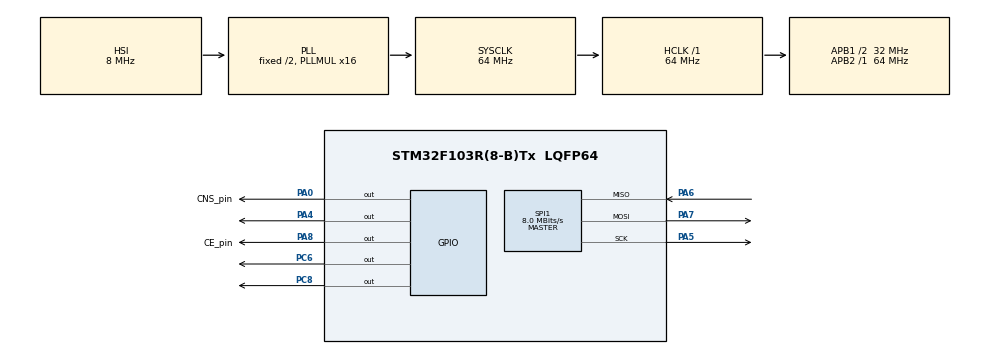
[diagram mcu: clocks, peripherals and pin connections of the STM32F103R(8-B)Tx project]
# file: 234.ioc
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Mcu.Family=STM32F1
Mcu.Name=STM32F103R(8-B)Tx
Mcu.Package=LQFP64
NVIC.PriorityGroup=NVIC_PRIORITYGROUP_4
PA0-WKUP.GPIO_Label=CNS_pin
PA0-WKUP.Signal=GPIO_Output
PA4.Signal=GPIO_Output
PA5.Mode=Full_Duplex_Master
PA5.Signal=SPI1_SCK
PA6.Mode=Full_Duplex_Master
PA6.Signal=SPI1_MISO
PA7.Mode=Full_Duplex_Master
PA7.Signal=SPI1_MOSI
PA8.GPIO_Label=CE_pin
PA8.Signal=GPIO_Output
PC6.Signal=GPIO_Output
PC8.Signal=GPIO_Output
PD0-OSC_IN.Mode=HSE-External-Oscillator
PD0-OSC_IN.Signal=RCC_OSC_IN
PD1-OSC_OUT.Mode=HSE-External-Oscillator
PD1-OSC_OUT.Signal=RCC_OSC_OUT
ProjectManager.HeapSize=0x200
ProjectManager.StackSize=0x400
ProjectManager.TargetToolchain=STM32CubeIDE
RCC.AHBFreq_Value=64000000
RCC.APB1CLKDivider=RCC_HCLK_DIV2
RCC.APB1Freq_Value=32000000
RCC.APB1TimFreq_Value=64000000
RCC.APB2Freq_Value=64000000
RCC.APB2TimFreq_Value=64000000
RCC.HCLKFreq_Value=64000000
RCC.PLLMUL=RCC_PLL_MUL16
RCC.RTCClockSelection=RCC_RTCCLKSOURCE_LSE
RCC.SYSCLKFreq_VALUE=64000000
RCC.SYSCLKSource=RCC_SYSCLKSOURCE_PLLCLK
RCC.USBFreq_Value=64000000
SPI1.BaudRatePrescaler=SPI_BAUDRATEPRESCALER_8
SPI1.CalculateBaudRate=8.0 MBits/s
SPI1.Direction=SPI_DIRECTION_2LINES
SPI1.Mode=SPI_MODE_MASTER
SPI1.VirtualType=VM_MASTER
VP_SYS_VS_ND.Mode=No_Debug
board=NUCLEO-F103RB

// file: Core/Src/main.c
/* USER CODE BEGIN Header */
/**
  ******************************************************************************
  * @file           : main.c
  * @brief          : Main program body
  ******************************************************************************
  * @attention
  *
  * Copyright (c) 2025 STMicroelectronics.
  * All rights reserved.
  *
  * This software is licensed under terms that can be found in the LICENSE file
  * in the root directory of this software component.
  * If no LICENSE file comes with this software, it is provided AS-IS.
  *
  ******************************************************************************
  */
/* USER CODE END Header */
#include "main.h"
#include "spi.h"
#include "gpio.h"

/* USER CODE BEGIN Includes */
#include "NRF24.h"
#include "NRF24_conf.h"

/* USER CODE END Includes */

void SystemClock_Config(void);

/* USER CODE BEGIN 0 */
uint8_t tx_data[] = "hed";

void nrf24_transmitter_setup(void)
{
    uint8_t tx_address[5] = {'R', 'x', 'A', 'A', 'A'}; // 송신기 주소

    nrf24_defaults();  // NRF24 모듈을 기본 설정으로 초기화
    nrf24_open_tx_pipe(tx_address); // 송신기 파이프 설정
    nrf24_tx_pwr(3); // 전송 파워 설정 (필요에 따라 조정)
    nrf24_data_rate(_1mbps); // 데이터 전송 속도 설정 (1mbps 일반적으로 사용)
}

void transmit_hi(void)
{
    // 데이터 전송
    if (nrf24_transmit(tx_data, sizeof(tx_data)) == 0) {
        // 전송 성공 시, LED를 켜서 피드백
        HAL_GPIO_WritePin(GPIOC, GPIO_PIN_8, GPIO_PIN_SET);  // PC6 핀에 연결된 LED 켜기

    } else {
        // 전송 실패 시, LED 끄기
    	HAL_GPIO_WritePin(GPIOC, GPIO_PIN_6, GPIO_PIN_SET);  // PC6 핀에 전압을 출력 (LED 켜짐)

    }
}

/* USER CODE END 0 */

int main(void)
{

  /* MCU Configuration--------------------------------------------------------*/

  /* Reset of all peripherals, Initializes the Flash interface and the Systick. */
  HAL_Init();

  /* Configure the system clock */
  SystemClock_Config();

  /* Initialize all configured peripherals */
  MX_GPIO_Init();
  MX_SPI1_Init();
  /* USER CODE BEGIN 2 */
  nrf24_transmitter_setup();

  /* USER CODE END 2 */

  /* Infinite loop */
  while (1)
  {

    /* USER CODE BEGIN 3 */
	  transmit_hi();  // "hi" 전송
	         HAL_Delay(2000); // 2초 대기
  }
  /* USER CODE END 3 */
}

void SystemClock_Config(void)
{
  RCC_OscInitTypeDef RCC_OscInitStruct = {0};
  RCC_ClkInitTypeDef RCC_ClkInitStruct = {0};

  /** Initializes the RCC Oscillators according to the specified parameters
  * in the RCC_OscInitTypeDef structure.
  */
  RCC_OscInitStruct.OscillatorType = RCC_OSCILLATORTYPE_HSI;
  RCC_OscInitStruct.HSIState = RCC_HSI_ON;
  RCC_OscInitStruct.HSICalibrationValue = RCC_HSICALIBRATION_DEFAULT;
  RCC_OscInitStruct.PLL.PLLState = RCC_PLL_ON;
  RCC_OscInitStruct.PLL.PLLSource = RCC_PLLSOURCE_HSI_DIV2;
  RCC_OscInitStruct.PLL.PLLMUL = RCC_PLL_MUL16;
  if (HAL_RCC_OscConfig(&RCC_OscInitStruct) != HAL_OK)
  {
    Error_Handler();
  }

  /** Initializes the CPU, AHB and APB buses clocks
  */
  RCC_ClkInitStruct.ClockType = RCC_CLOCKTYPE_HCLK|RCC_CLOCKTYPE_SYSCLK
                              |RCC_CLOCKTYPE_PCLK1|RCC_CLOCKTYPE_PCLK2;
  RCC_ClkInitStruct.SYSCLKSource = RCC_SYSCLKSOURCE_PLLCLK;
  RCC_ClkInitStruct.AHBCLKDivider = RCC_SYSCLK_DIV1;
  RCC_ClkInitStruct.APB1CLKDivider = RCC_HCLK_DIV2;
  RCC_ClkInitStruct.APB2CLKDivider = RCC_HCLK_DIV1;

  if (HAL_RCC_ClockConfig(&RCC_ClkInitStruct, FLASH_LATENCY_2) != HAL_OK)
  {
    Error_Handler();
  }
}

void Error_Handler(void)
{
  __disable_irq();
  while (1)
  {
  }
}
